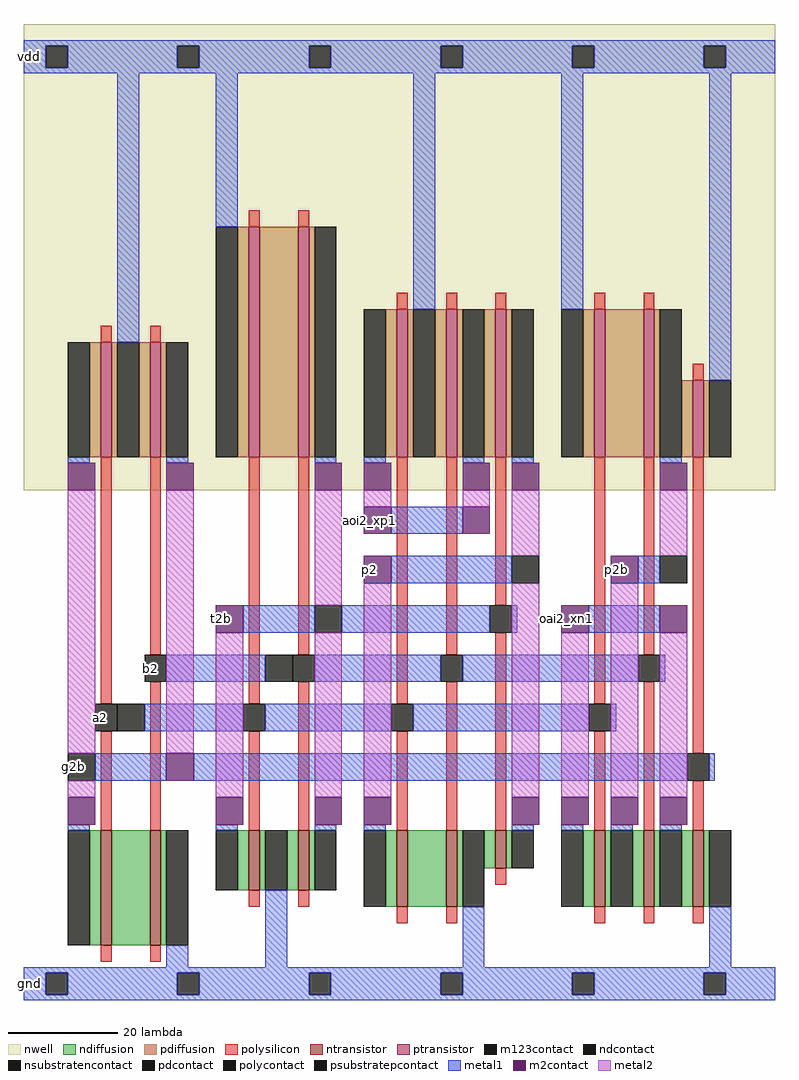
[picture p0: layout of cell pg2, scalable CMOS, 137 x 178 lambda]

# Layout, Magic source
magic
tech scmos
<< nwell >>
rect 0 93 137 178
<< ntransistor >>
rect 14 10 16 31
rect 23 10 25 31
rect 41 20 43 31
rect 50 20 52 31
rect 68 17 70 31
rect 77 17 79 31
rect 86 24 88 31
rect 104 17 106 31
rect 113 17 115 31
rect 122 17 124 31
<< ptransistor >>
rect 14 99 16 120
rect 23 99 25 120
rect 41 99 43 141
rect 50 99 52 141
rect 68 99 70 126
rect 77 99 79 126
rect 86 99 88 126
rect 104 99 106 126
rect 113 99 115 126
rect 122 99 124 113
<< ndiffusion >>
rect 12 10 14 31
rect 16 10 23 31
rect 25 10 26 31
rect 39 20 41 31
rect 43 20 44 31
rect 48 20 50 31
rect 52 20 53 31
rect 66 17 68 31
rect 70 17 77 31
rect 79 17 80 31
rect 84 24 86 31
rect 88 24 89 31
rect 102 17 104 31
rect 106 17 107 31
rect 111 17 113 31
rect 115 17 116 31
rect 120 17 122 31
rect 124 17 125 31
<< pdiffusion >>
rect 12 99 14 120
rect 16 99 17 120
rect 21 99 23 120
rect 25 99 26 120
rect 39 99 41 141
rect 43 99 50 141
rect 52 99 53 141
rect 66 99 68 126
rect 70 99 71 126
rect 75 99 77 126
rect 79 99 80 126
rect 84 99 86 126
rect 88 99 89 126
rect 102 99 104 126
rect 106 99 113 126
rect 115 99 116 126
rect 120 99 122 113
rect 124 99 125 113
<< ndcontact >>
rect 8 10 12 31
rect 26 10 30 31
rect 35 20 39 31
rect 44 20 48 31
rect 53 20 57 31
rect 62 17 66 31
rect 80 17 84 31
rect 89 24 93 31
rect 98 17 102 31
rect 107 17 111 31
rect 116 17 120 31
rect 125 17 129 31
<< pdcontact >>
rect 8 99 12 120
rect 17 99 21 120
rect 26 99 30 120
rect 35 99 39 141
rect 53 99 57 141
rect 62 99 66 126
rect 71 99 75 126
rect 80 99 84 126
rect 89 99 93 126
rect 98 99 102 126
rect 116 99 120 126
rect 125 99 129 113
<< psubstratepcontact >>
rect 4 1 8 5
rect 28 1 32 5
rect 52 1 56 5
rect 76 1 80 5
rect 100 1 104 5
rect 124 1 128 5
<< nsubstratencontact >>
rect 4 170 8 174
rect 28 170 32 174
rect 52 170 56 174
rect 76 170 80 174
rect 100 170 104 174
rect 124 170 128 174
<< polysilicon >>
rect 41 141 43 144
rect 50 141 52 144
rect 14 120 16 123
rect 23 120 25 123
rect 68 126 70 129
rect 77 126 79 129
rect 86 126 88 129
rect 104 126 106 129
rect 113 126 115 129
rect 122 113 124 116
rect 14 54 16 99
rect 23 63 25 99
rect 14 31 16 49
rect 23 31 25 58
rect 41 54 43 99
rect 50 63 52 99
rect 41 31 43 49
rect 50 31 52 58
rect 68 54 70 99
rect 77 63 79 99
rect 86 72 88 99
rect 68 31 70 49
rect 77 31 79 58
rect 86 31 88 67
rect 104 54 106 99
rect 113 63 115 99
rect 104 31 106 49
rect 113 31 115 58
rect 122 45 124 99
rect 122 31 124 40
rect 41 17 43 20
rect 50 17 52 20
rect 86 21 88 24
rect 68 14 70 17
rect 77 14 79 17
rect 104 14 106 17
rect 113 14 115 17
rect 122 14 124 17
rect 14 7 16 10
rect 23 7 25 10
<< polycontact >>
rect 22 58 26 63
rect 13 49 17 54
rect 49 58 53 63
rect 40 49 44 54
rect 85 67 89 72
rect 76 58 80 63
rect 67 49 71 54
rect 112 58 116 63
rect 103 49 107 54
rect 121 40 125 45
<< metal1 >>
rect 0 174 137 175
rect 0 170 4 174
rect 8 170 28 174
rect 32 170 52 174
rect 56 170 76 174
rect 80 170 100 174
rect 104 170 124 174
rect 128 170 137 174
rect 0 169 137 170
rect 17 120 21 169
rect 35 141 39 169
rect 71 126 75 169
rect 98 126 102 169
rect 8 98 12 99
rect 26 98 30 99
rect 53 98 57 99
rect 62 98 66 99
rect 80 98 84 99
rect 125 113 129 169
rect 89 98 93 99
rect 116 98 120 99
rect 67 85 80 90
rect 67 76 89 81
rect 112 76 116 81
rect 40 67 53 72
rect 58 67 85 72
rect 89 67 90 72
rect 103 67 116 72
rect 26 58 44 63
rect 53 58 76 63
rect 80 58 112 63
rect 116 58 117 63
rect 22 49 40 54
rect 44 49 67 54
rect 71 49 103 54
rect 107 49 108 54
rect 13 40 26 45
rect 31 40 121 45
rect 125 40 126 45
rect 8 31 12 32
rect 35 31 39 32
rect 53 31 57 32
rect 62 31 66 32
rect 89 31 93 32
rect 26 6 30 10
rect 44 6 48 20
rect 98 31 102 32
rect 107 31 111 32
rect 116 31 120 32
rect 80 6 84 17
rect 125 6 129 17
rect 0 5 137 6
rect 0 1 4 5
rect 8 1 28 5
rect 32 1 52 5
rect 56 1 76 5
rect 80 1 100 5
rect 104 1 124 5
rect 128 1 137 5
rect 0 0 137 1
<< m2contact >>
rect 8 93 13 98
rect 26 93 31 98
rect 53 93 58 98
rect 62 93 67 98
rect 80 93 85 98
rect 89 93 94 98
rect 116 93 121 98
rect 62 85 67 90
rect 80 85 85 90
rect 62 76 67 81
rect 107 76 112 81
rect 35 67 40 72
rect 98 67 103 72
rect 116 67 121 72
rect 26 40 31 45
rect 8 32 13 37
rect 35 32 40 37
rect 53 32 58 37
rect 62 32 67 37
rect 89 32 94 37
rect 98 32 103 37
rect 107 32 112 37
rect 116 32 121 37
<< metal2 >>
rect 8 45 13 93
rect 26 45 31 93
rect 53 72 58 93
rect 62 90 67 93
rect 80 90 85 93
rect 89 81 94 93
rect 116 81 121 93
rect 8 37 13 40
rect 35 37 40 67
rect 53 37 58 67
rect 62 37 67 76
rect 89 37 94 76
rect 98 37 103 67
rect 107 37 112 76
rect 116 37 121 67
<< m123contact >>
rect 17 49 22 54
rect 8 40 13 45
rect 53 67 58 72
rect 44 58 49 63
rect 89 76 94 81
rect 116 76 121 81
<< labels >>
rlabel metal1 13 49 15 54 0 a2
port 1 nsew
rlabel metal1 22 58 24 63 0 b2
port 2 nsew
rlabel metal1 8 40 10 45 0 g2b
port 3 nsew
rlabel m2contact 62 76 64 81 0 p2
port 4 nsew
rlabel m2contact 107 76 109 81 0 p2b
port 5 nsew
rlabel m2contact 35 67 37 72 0 t2b
port 6 nsew
rlabel m2contact 62 85 64 90 0 aoi2_xp1
rlabel m2contact 98 67 100 72 0 oai2_xn1
rlabel metal1 0 169 2 175 0 vdd
port 7 nsew
rlabel metal1 0 0 2 6 0 gnd
port 8 nsew
<< end >>
